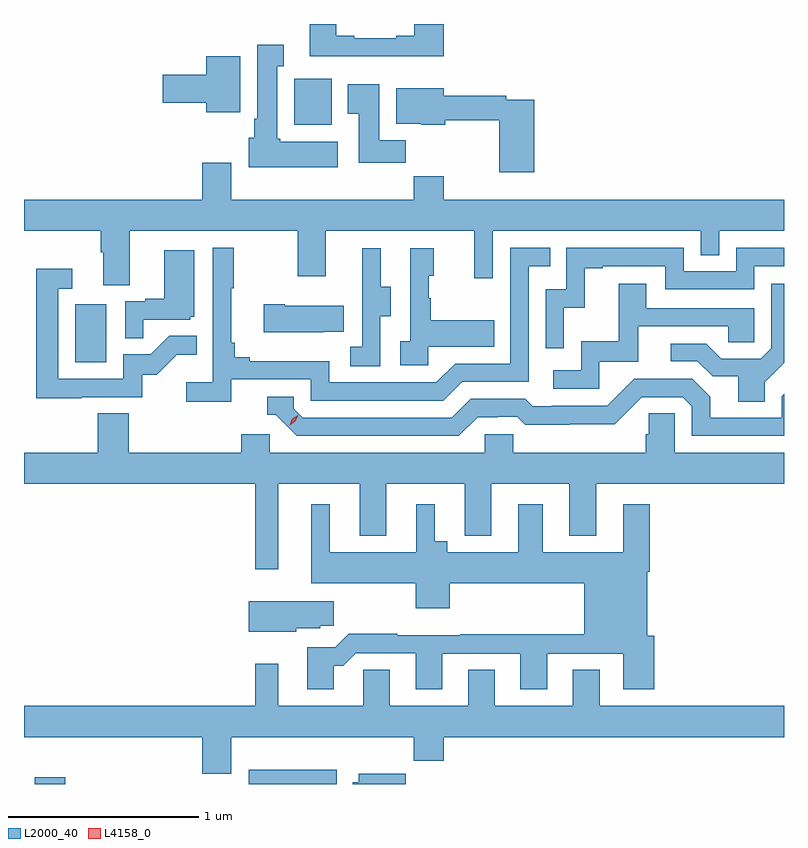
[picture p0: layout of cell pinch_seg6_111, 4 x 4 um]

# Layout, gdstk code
import gdstk
lib = gdstk.Library(unit=1e-6, precision=1e-09)
def R(c, l, rs):  # rectangles x0, y0, x1, y1
    for r in rs: c.add(gdstk.rectangle(r[:2], r[2:], *l))
def P(c, l, *ps):  # polygons
    for p in ps: c.add(gdstk.Polygon(p, *l))
L2000_40 = (2000, 40)
L4158_0 = (4158, 0)

pinch_seg6_111 = lib.new_cell('pinch_seg6_111')
R(pinch_seg6_111, L2000_40, [(900.371,923.113,900.532,923.149), (901.496,923.113,901.96,923.188), (900.584,925.332,900.748,925.639), (901.736,926.582,901.933,926.824)])
P(pinch_seg6_111, L2000_40, [(902.522,927.113),(902.369,927.113),(902.369,927.052),(902.273,927.052),(902.273,927.039),(902.053,927.039),(902.053,927.052),(901.957,927.052),(901.957,927.113),(901.817,927.113),(901.817,926.942),(902.522,926.942)],
  [(901.966,926.494),(901.662,926.494),(901.662,926.508),(901.648,926.508),(901.648,926.891),(901.681,926.891),(901.681,927.004),(901.541,927.004),(901.541,926.614),(901.526,926.614),(901.526,926.514),(901.496,926.514),(901.496,926.36),(901.966,926.36)],
  [(901.453,926.944),(901.274,926.944),(901.274,926.846),(901.044,926.846),(901.044,926.699),(901.274,926.699),(901.274,926.648),(901.453,926.648)],
  [(902.324,926.5),(902.185,926.5),(902.185,926.797),(902.018,926.797),(902.018,926.641),(902.075,926.641),(902.075,926.382),(902.324,926.382)],
  [(902.999,926.715),(902.852,926.715),(902.852,926.735),(902.524,926.735),(902.524,926.776),(902.273,926.776),(902.273,926.588),(902.406,926.588),(902.406,926.582),(902.532,926.582),(902.532,926.607),(902.816,926.607),(902.816,926.334),(902.999,926.334)],
  [(900.314,926.024),(900.719,926.024),(900.719,925.912),(900.731,925.912),(900.731,925.738),(900.871,925.738),(900.871,926.024),(901.756,926.024),(901.756,925.785),(901.903,925.785),(901.903,926.024),(902.684,926.024),(902.684,925.776),(902.781,925.776),(902.781,926.024),(903.876,926.024),(903.876,925.897),(903.972,925.897),(903.972,926.024),(904.314,926.024),(904.314,926.188),(902.522,926.188),(902.522,926.312),(902.365,926.312),(902.365,926.188),(901.405,926.188),(901.405,926.383),(901.253,926.383),(901.253,926.188),(900.314,926.188)],
  [(901.406,925.242),(901.824,925.242),(901.824,925.131),(902.521,925.131),(902.62,925.23),(902.97,925.23),(902.97,925.839),(903.083,925.839),(903.083,925.935),(902.874,925.935),(902.874,925.326),(902.583,925.326),(902.484,925.227),(901.92,925.227),(901.92,925.339),(901.501,925.339),(901.501,925.358),(901.424,925.358),(901.424,925.435),(901.405,925.435),(901.405,925.723),(901.417,925.723),(901.417,925.936),(901.308,925.936),(901.308,925.228),(901.167,925.228),(901.167,925.126),(901.406,925.126)],
  [(903.156,925.619),(903.266,925.619),(903.266,925.827),(903.361,925.827),(903.361,925.839),(903.69,925.839),(903.69,925.716),(904.158,925.716),(904.158,925.839),(904.314,925.839),(904.314,925.935),(904.062,925.935),(904.062,925.812),(903.786,925.812),(903.786,925.935),(903.168,925.935),(903.168,925.716),(903.06,925.716),(903.06,925.407),(903.156,925.407)],
  [(902.442,925.415),(902.789,925.415),(902.789,925.555),(902.455,925.555),(902.455,925.67),(902.445,925.67),(902.445,925.788),(902.47,925.788),(902.47,925.933),(902.346,925.933),(902.346,925.442),(902.295,925.442),(902.295,925.317),(902.442,925.317)],
  [(902.19,925.576),(902.245,925.576),(902.245,925.731),(902.191,925.731),(902.191,925.933),(902.093,925.933),(902.093,925.719),(902.094,925.719),(902.094,925.415),(902.031,925.415),(902.031,925.312),(902.19,925.312)],
  [(900.941,925.557),(901.188,925.557),(901.188,925.572),(901.21,925.572),(901.21,925.921),(901.052,925.921),(901.052,925.666),(900.953,925.666),(900.953,925.653),(900.846,925.653),(900.846,925.459),(900.941,925.459)],
  [(900.617,925.149),(900.936,925.149),(900.936,925.266),(901.012,925.266),(901.119,925.373),(901.223,925.373),(901.223,925.472),(901.079,925.472),(900.981,925.374),(900.837,925.374),(900.837,925.245),(900.495,925.245),(900.495,925.719),(900.568,925.719),(900.568,925.825),(900.379,925.825),(900.379,925.144),(900.617,925.144)],
  [(904.213,925.228),(904.314,925.329),(904.314,925.747),(904.248,925.747),(904.248,925.407),(904.191,925.35),(903.985,925.35),(903.904,925.431),(903.717,925.431),(903.717,925.338),(903.858,925.338),(903.938,925.258),(904.073,925.258),(904.073,925.126),(904.213,925.126)],
  [(903.342,925.335),(903.547,925.335),(903.547,925.521),(904.021,925.521),(904.021,925.437),(904.158,925.437),(904.158,925.617),(903.589,925.617),(903.589,925.747),(903.445,925.747),(903.445,925.444),(903.246,925.444),(903.246,925.29),(903.099,925.29),(903.099,925.194),(903.342,925.194)],
  [(901.889,925.493),(901.997,925.493),(901.997,925.63),(901.687,925.63),(901.687,925.638),(901.575,925.638),(901.575,925.49),(901.889,925.49)],
  [(902.701,925.044),(902.808,925.044),(902.808,925.047),(902.911,925.047),(902.953,925.005),(903.186,925.005),(903.186,925.007),(903.422,925.007),(903.564,925.149),(903.78,925.149),(903.828,925.101),(903.828,924.945),(904.314,924.945),(904.314,925.167),(904.302,925.155),(904.302,925.041),(903.925,925.041),(903.925,925.151),(903.831,925.245),(903.525,925.245),(903.384,925.104),(903.091,925.104),(903.091,925.101),(902.992,925.101),(902.953,925.14),(902.664,925.14),(902.565,925.041),(901.782,925.041),(901.734,925.089),(901.734,925.152),(901.595,925.152),(901.595,925.056),(901.638,925.056),(901.749,924.945),(902.602,924.945)],
  [(901.651,924.692),(902.081,924.692),(902.081,924.419),(902.221,924.419),(902.221,924.692),(902.633,924.692),(902.633,924.419),(902.773,924.419),(902.773,924.692),(903.185,924.692),(903.185,924.419),(903.325,924.419),(903.325,924.692),(904.314,924.692),(904.314,924.856),(903.738,924.856),(903.738,925.064),(903.601,925.064),(903.601,924.954),(903.587,924.954),(903.587,924.856),(902.889,924.856),(902.889,924.954),(902.739,924.954),(902.739,924.856),(901.608,924.856),(901.608,924.954),(901.457,924.954),(901.457,924.856),(900.866,924.856),(900.866,925.064),(900.701,925.064),(900.701,924.856),(900.314,924.856),(900.314,924.692),(901.53,924.692),(901.53,924.243),(901.651,924.243)],
  [(901.945,923.735),(901.994,923.735),(902.061,923.802),(902.375,923.802),(902.375,923.613),(902.515,923.613),(902.515,923.799),(902.927,923.799),(902.927,923.613),(903.067,923.613),(903.067,923.799),(903.467,923.799),(903.467,923.613),(903.632,923.613),(903.632,923.892),(903.595,923.892),(903.595,924.23),(903.608,924.23),(903.608,924.586),(903.467,924.586),(903.467,924.334),(903.043,924.334),(903.043,924.586),(902.915,924.586),(902.915,924.334),(902.542,924.334),(902.542,924.391),(902.476,924.391),(902.476,924.586),(902.378,924.586),(902.378,924.334),(901.924,924.334),(901.924,924.586),(901.826,924.586),(901.826,924.17),(902.377,924.17),(902.377,924.039),(902.555,924.039),(902.555,924.17),(903.263,924.17),(903.263,923.9),(902.611,923.9),(902.611,923.896),(902.279,923.896),(902.279,923.903),(902.024,923.903),(901.953,923.832),(901.805,923.832),(901.805,923.613),(901.945,923.613)],
  [(901.746,923.933),(901.872,923.933),(901.872,923.947),(901.945,923.947),(901.945,924.076),(901.496,924.076),(901.496,923.915),(901.746,923.915)],
  [(901.405,923.36),(902.365,923.36),(902.365,923.236),(902.522,923.236),(902.522,923.36),(904.314,923.36),(904.314,923.524),(903.343,923.524),(903.343,923.714),(903.203,923.714),(903.203,923.524),(902.791,923.524),(902.791,923.714),(902.651,923.714),(902.651,923.524),(902.239,923.524),(902.239,923.714),(902.1,923.714),(902.1,923.524),(901.651,923.524),(901.651,923.746),(901.53,923.746),(901.53,923.524),(900.314,923.524),(900.314,923.36),(901.253,923.36),(901.253,923.166),(901.405,923.166)],
  [(902.324,923.167),(902.075,923.167),(902.075,923.122),(902.045,923.122),(902.045,923.113),(902.324,923.113)])
P(pinch_seg6_111, L4158_0, [(901.712,925.002),(901.712,925.002),(901.727,925.035),(901.758,925.055),(901.758,925.055),(901.758,925.054),(901.742,925.022),(901.712,925.002)])

lib.write_gds('pinch_seg6_111.gds')
